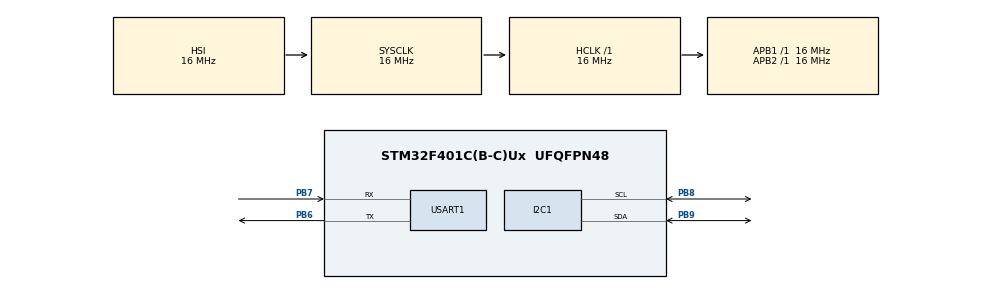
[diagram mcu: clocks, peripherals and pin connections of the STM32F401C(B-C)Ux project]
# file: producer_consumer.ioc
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FREERTOS.BinarySemaphores01=myBinarySem01,Dynamic,NULL
FREERTOS.Mutexes01=mutex,Dynamic,NULL
FREERTOS.Tasks01=taskRead,24,128,StartTaskRead,Default,NULL,Dynamic,NULL,NULL;taskTransmit,24,128,StartTaskTransmit,Default,NULL,Dynamic,NULL,NULL
FREERTOS.configUSE_NEWLIB_REENTRANT=1
Mcu.Family=STM32F4
Mcu.Name=STM32F401C(B-C)Ux
Mcu.Package=UFQFPN48
NVIC.PriorityGroup=NVIC_PRIORITYGROUP_4
PB6.Mode=Asynchronous
PB6.Signal=USART1_TX
PB7.Mode=Asynchronous
PB7.Signal=USART1_RX
PB8.GPIO_Pu=GPIO_PULLUP
PB8.Mode=I2C
PB8.Signal=I2C1_SCL
PB9.GPIO_Pu=GPIO_PULLUP
PB9.Mode=I2C
PB9.Signal=I2C1_SDA
ProjectManager.HeapSize=0x200
ProjectManager.StackSize=0x400
ProjectManager.TargetToolchain=STM32CubeIDE
RCC.AHBFreq_Value=16000000
RCC.APB1Freq_Value=16000000
RCC.APB2Freq_Value=16000000
RCC.CortexFreq_Value=16000000
RCC.HSE_VALUE=25000000
RCC.HSI_VALUE=16000000
RCC.LSE_VALUE=32768
RCC.SYSCLKFreq_VALUE=16000000
RCC.VCOOutputFreq_Value=192000000
USART1.VirtualMode=VM_ASYNC
VP_FREERTOS_VS_CMSIS_V2.Mode=CMSIS_V2
board=custom

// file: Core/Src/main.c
/* USER CODE BEGIN Header */
/**
  ******************************************************************************
  * @file           : main.c
  * @brief          : Main program body
  ******************************************************************************
  * @attention
  *
  * Copyright (c) 2022 STMicroelectronics.
  * All rights reserved.
  *
  * This software is licensed under terms that can be found in the LICENSE file
  * in the root directory of this software component.
  * If no LICENSE file comes with this software, it is provided AS-IS.
  *
  ******************************************************************************
  */
/* USER CODE END Header */
#include "main.h"
#include "cmsis_os.h"

/* USER CODE BEGIN Includes */
#include "baro.h"
#include <stdio.h>
#include <stdlib.h>
#include <string.h>
#include <unistd.h>
#include <malloc.h>
/* USER CODE END Includes */

/* USER CODE BEGIN PD */
#define countof(_a) (sizeof(_a)/sizeof(_a[0]))
/* USER CODE END PD */

I2C_HandleTypeDef hi2c1;

UART_HandleTypeDef huart1;

/* Definitions for taskRead */
osThreadId_t taskReadHandle;
const osThreadAttr_t taskRead_attributes = {
  .name = "taskRead",
  .stack_size = 128 * 4,
  .priority = (osPriority_t) osPriorityNormal,
};
/* Definitions for taskTransmit */
osThreadId_t taskTransmitHandle;
const osThreadAttr_t taskTransmit_attributes = {
  .name = "taskTransmit",
  .stack_size = 128 * 4,
  .priority = (osPriority_t) osPriorityNormal,
};
/* Definitions for mutex */
osMutexId_t mutexHandle;
const osMutexAttr_t mutex_attributes = {
  .name = "mutex"
};
/* Definitions for myBinarySem01 */
osSemaphoreId_t myBinarySem01Handle;
const osSemaphoreAttr_t myBinarySem01_attributes = {
  .name = "myBinarySem01"
};

void SystemClock_Config(void);
static void MX_GPIO_Init(void);
static void MX_I2C1_Init(void);
static void MX_USART1_UART_Init(void);
void StartTaskRead(void *argument);
void StartTaskTransmit(void *argument);

/* USER CODE BEGIN 0 */
static char text[100] = {0};

typedef struct t_elem{
    struct t_elem * next;
    uint32_t data;
}t_elem;

typedef struct cycl_buffer{
    t_elem * first;
    t_elem * last;
} cycl_buffer;

cycl_buffer buff;

void add(uint32_t val){
    t_elem * new_node = (t_elem *) malloc(sizeof(t_elem));
    new_node->data = val;
    new_node->next = NULL;
    if(buff.first == NULL)
        buff.first = new_node;
    else
        buff.last->next = new_node;
    buff.last = new_node;
    buff.last->next = buff.first;
}

uint32_t get(){
    if(buff.first != NULL){
        t_elem * ret_elem = buff.first;
        uint32_t data = ret_elem->data;
        buff.first = ret_elem -> next;
        free(ret_elem);
        return data;
    }else{
        return -98765;
    }
}
/* USER CODE END 0 */

int main(void)
{

  /* MCU Configuration--------------------------------------------------------*/

  /* Reset of all peripherals, Initializes the Flash interface and the Systick. */
  HAL_Init();

  /* Configure the system clock */
  SystemClock_Config();

  /* Initialize all configured peripherals */
  MX_GPIO_Init();
  MX_I2C1_Init();
  MX_USART1_UART_Init();
  /* USER CODE BEGIN 2 */
  buff.first = NULL;
  buff.last = NULL;

  if (baro_init() != BARO_OK) {
    snprintf(text, countof(text), "Error init baro\n");
    HAL_UART_Transmit(&huart1, (uint8_t*)text, strnlen(text, countof(text)), 1000);
    while (1) {}
  }

  /* USER CODE END 2 */

  /* Init scheduler */
  osKernelInitialize();
  /* Create the mutex(es) */
  /* creation of mutex */
  mutexHandle = osMutexNew(&mutex_attributes);

  /* Create the semaphores(s) */
  /* creation of myBinarySem01 */
  myBinarySem01Handle = osSemaphoreNew(1, 1, &myBinarySem01_attributes);

  /* Create the thread(s) */
  /* creation of taskRead */
  taskReadHandle = osThreadNew(StartTaskRead, NULL, &taskRead_attributes);

  /* creation of taskTransmit */
  taskTransmitHandle = osThreadNew(StartTaskTransmit, NULL, &taskTransmit_attributes);

  /* Start scheduler */
  osKernelStart();

  /* We should never get here as control is now taken by the scheduler */
  /* Infinite loop */
  while (1)
  {

  }
}

void SystemClock_Config(void)
{
  RCC_OscInitTypeDef RCC_OscInitStruct = {0};
  RCC_ClkInitTypeDef RCC_ClkInitStruct = {0};

  /** Configure the main internal regulator output voltage
  */
  __HAL_RCC_PWR_CLK_ENABLE();
  __HAL_PWR_VOLTAGESCALING_CONFIG(PWR_REGULATOR_VOLTAGE_SCALE2);

  /** Initializes the RCC Oscillators according to the specified parameters
  * in the RCC_OscInitTypeDef structure.
  */
  RCC_OscInitStruct.OscillatorType = RCC_OSCILLATORTYPE_HSI;
  RCC_OscInitStruct.HSIState = RCC_HSI_ON;
  RCC_OscInitStruct.HSICalibrationValue = RCC_HSICALIBRATION_DEFAULT;
  RCC_OscInitStruct.PLL.PLLState = RCC_PLL_NONE;
  if (HAL_RCC_OscConfig(&RCC_OscInitStruct) != HAL_OK)
  {
    Error_Handler();
  }

  /** Initializes the CPU, AHB and APB buses clocks
  */
  RCC_ClkInitStruct.ClockType = RCC_CLOCKTYPE_HCLK|RCC_CLOCKTYPE_SYSCLK
                              |RCC_CLOCKTYPE_PCLK1|RCC_CLOCKTYPE_PCLK2;
  RCC_ClkInitStruct.SYSCLKSource = RCC_SYSCLKSOURCE_HSI;
  RCC_ClkInitStruct.AHBCLKDivider = RCC_SYSCLK_DIV1;
  RCC_ClkInitStruct.APB1CLKDivider = RCC_HCLK_DIV1;
  RCC_ClkInitStruct.APB2CLKDivider = RCC_HCLK_DIV1;

  if (HAL_RCC_ClockConfig(&RCC_ClkInitStruct, FLASH_LATENCY_0) != HAL_OK)
  {
    Error_Handler();
  }
}

static void MX_I2C1_Init(void)
{

  hi2c1.Instance = I2C1;
  hi2c1.Init.ClockSpeed = 100000;
  hi2c1.Init.DutyCycle = I2C_DUTYCYCLE_2;
  hi2c1.Init.OwnAddress1 = 0;
  hi2c1.Init.AddressingMode = I2C_ADDRESSINGMODE_7BIT;
  hi2c1.Init.DualAddressMode = I2C_DUALADDRESS_DISABLE;
  hi2c1.Init.OwnAddress2 = 0;
  hi2c1.Init.GeneralCallMode = I2C_GENERALCALL_DISABLE;
  hi2c1.Init.NoStretchMode = I2C_NOSTRETCH_DISABLE;
  if (HAL_I2C_Init(&hi2c1) != HAL_OK)
  {
    Error_Handler();
  }

}

static void MX_USART1_UART_Init(void)
{

  huart1.Instance = USART1;
  huart1.Init.BaudRate = 115200;
  huart1.Init.WordLength = UART_WORDLENGTH_8B;
  huart1.Init.StopBits = UART_STOPBITS_1;
  huart1.Init.Parity = UART_PARITY_NONE;
  huart1.Init.Mode = UART_MODE_TX_RX;
  huart1.Init.HwFlowCtl = UART_HWCONTROL_NONE;
  huart1.Init.OverSampling = UART_OVERSAMPLING_16;
  if (HAL_UART_Init(&huart1) != HAL_OK)
  {
    Error_Handler();
  }

}

static void MX_GPIO_Init(void)
{

  /* GPIO Ports Clock Enable */
  __HAL_RCC_GPIOB_CLK_ENABLE();

}

void StartTaskRead(void *argument)
{
  /* USER CODE BEGIN 5 */
  /* Infinite loop */
  for(;;)
  {
	  osMutexAcquire(mutexHandle, osWaitForever);
	  add(baro_read_press()); //add new elem to buff
	  osMutexRelease(mutexHandle);

	  osDelay(pdMS_TO_TICKS(250));
  }
  /* USER CODE END 5 */
}

void StartTaskTransmit(void *argument)
{
  /* USER CODE BEGIN StartTaskTransmit */
  /* Infinite loop */
  for(;;)
  {
	  osMutexAcquire(mutexHandle, osWaitForever);
  	  uint32_t pres = get(); //get elem from buff
  	  snprintf(text, countof(text), "/*%ld.%02ld*/\n", pres/100, pres%100);
  	  HAL_UART_Transmit(&huart1, (uint8_t*)text, strlen(text), 1000);
	  osMutexRelease(mutexHandle);

	  osDelay(pdMS_TO_TICKS(250));
  }
  /* USER CODE END StartTaskTransmit */
}

void Error_Handler(void)
{
  __disable_irq();
  while (1)
  {
  }
}
